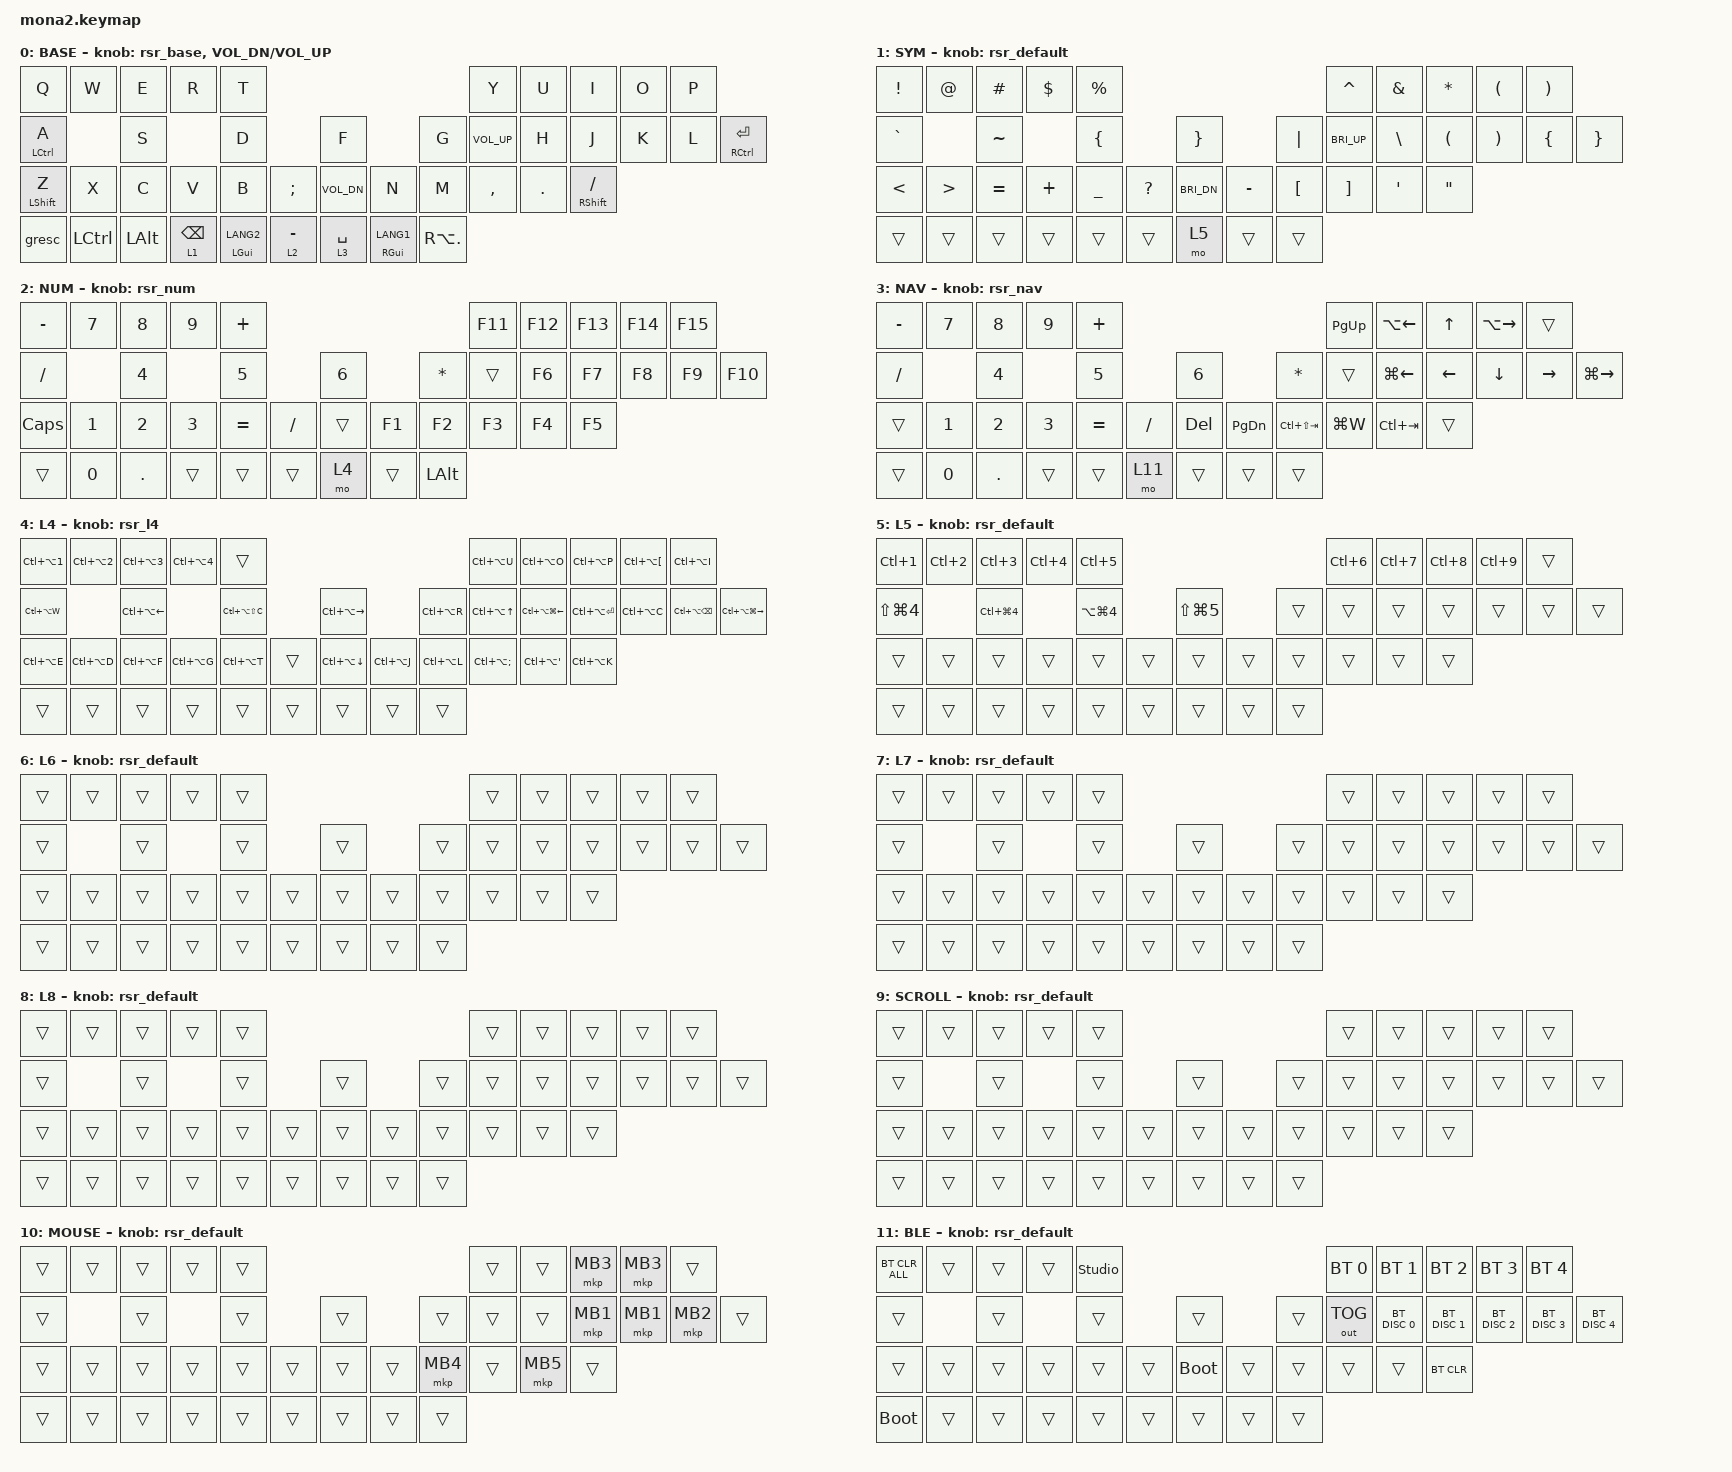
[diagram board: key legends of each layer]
#include <input/processors.dtsi>
#include <dt-bindings/zmk/input_transform.h>
#include <zephyr/dt-bindings/input/input-event-codes.h>
#include <behaviors/runtime-sensor-rotate.dtsi>
#include <behaviors.dtsi>
/* DYA Studio から作成したマクロを呼び出す `&rmacro <slot>` を定義する。
   slot は 0 〜 CONFIG_ZMK_RUNTIME_MACRO_COUNT-1 (現状 0〜7)。
   どのマクロがどのスロットに入っているかは DYA Studio のマクロ一覧で確認する。
   キーへの割り当ては DYA Studio のキーマップエディタからも行える。 */
#include <behaviors/runtime_macro.dtsi>
/* デフォルトレイヤー変更 behavior `&df`。
   DYA Studio の「OSごとのデフォルトレイヤー」から設定できるほか、
   キーマップエディタで `&df DF_SEL <layer>` / `&df DF_INC` を
   任意のキーに割り当てられる。 */
#include <behaviors/default_layer.dtsi>
#include <dt-bindings/zmk_behavior_default_layer/default_layer.h>
#include <dt-bindings/zmk/bt.h>
#include <dt-bindings/zmk/keys.h>
#include <dt-bindings/zmk/outputs.h>
#include <dt-bindings/zmk/pointing.h>

/* ZMK 側で 10 が定義済みなので警告回避のため一旦 undef */

#undef ZMK_POINTING_DEFAULT_SCRL_VAL

#define ZMK_POINTING_DEFAULT_SCRL_VAL 100


/ {
    behaviors {
        mg_set_0: behavior_mg_set_0 {
            compatible = "zmk,behavior-mg-set-fixed";
            #binding-cells = <0>;
            display-name = "Mouse Gesture Key 0";
        };

        mg_set_1: behavior_mg_set_1 {
            compatible = "zmk,behavior-mg-set-fixed";
            #binding-cells = <0>;
            display-name = "Mouse Gesture Key 1";
        };

        mg_set_2: behavior_mg_set_2 {
            compatible = "zmk,behavior-mg-set-fixed";
            #binding-cells = <0>;
            display-name = "Mouse Gesture Key 2";
        };
    };
};

&mt {
    flavor = "balanced";
    quick-tap-ms = <0>;
};

&lt {
    quick-tap-ms = <200>;
    flavor = "balanced";
};

&msc {
    delay-ms = <0>;
    time-to-max-speed-ms = <0>;
    acceleration-exponent = <0>;
};

/ {
    /* ─────────────────────────────────────────────────────────────
       コンボ (DYA Studio から編集可能)

       旧 `combos { compatible = "zmk,combos"; }` はコンパイル時固定で
       DYA Studio から編集できないため、zmk-feature-runtime-combo の
       「コンパイル時デフォルト」ノードへ移行した。
       ここに書いた内容はフラッシュ直後から有効で、設定を消しても復活する。
       DYA Studio 側で編集するとそのスロットだけ上書きされ、
       Web UI の "Reset to Default" でここの値へ戻せる。

       スロット総数は CONFIG_ZMK_RUNTIME_COMBO_MAX_COMBOS (現状 16)。
       未使用スロット (2〜15) は DYA Studio から自由に追加できる。
       ────────────────────────────────────────────────────────── */
    runtime_combo_defaults {
        compatible = "cormoran,runtime-combo-defaults";

        /* S + D 同時押しで Tab */
        tab {
            slot = <0>;
            display-name = "Tab";
            key-positions = <11 12>;
            bindings = <&kp TAB>;
        };

        /* K + L 同時押しの間だけスクロールレイヤー (9) */
        scroll {
            slot = <1>;
            display-name = "scroll";
            key-positions = <18 19>;
            bindings = <&mo 9>;
        };

        /* I + O 同時押しの間だけマウスジェスチャー (Mouse Gesture Key 0) */
        gesture {
            slot = <2>;
            display-name = "gesture";
            key-positions = <7 8>;
            bindings = <&mg_set_0>;
        };

        /* スロット3 (旧 BLE) は本体で削除済み。BLE レイヤーへは
           Space を押したまま左親指の内側 (NAV の 38 番 = &mo 11) で入る */
    };

    /* 静的マクロ (DYA Studio 上では編集不可)。
       DYA Studio から編集したいマクロは Web UI で新規作成し、
       キーに `&rmacro <slot>` を割り当てて使う。 */
    macros {
        to_layer_0: to_layer_0 {
            compatible = "zmk,behavior-macro-one-param";
            #binding-cells = <1>;
            bindings = <&to 0 &macro_param_1to1 &kp MACRO_PLACEHOLDER>;
            label = "TO_LAYER_0";
        };



        screenshot: screenshot {
            compatible = "zmk,behavior-macro";
            #binding-cells = <0>;
            bindings =
                <&macro_press>,
                <&kp LEFT_GUI &kp RSHIFT>,
                <&macro_wait_time 20>,
                <&macro_tap>,
                <&kp S>,
                <&macro_release>,
                <&kp LEFT_GUI &kp RSHIFT>;

            label = "SCREENSHOT";
        };

        henkan: henkan {
            compatible = "zmk,behavior-macro";
            #binding-cells = <0>;
            bindings =
                <&macro_press>,
                <&kp LEFT_ALT>,
                <&macro_wait_time 20>,
                <&macro_tap>,
                <&kp GRAVE>,
                <&macro_release>,
                <&kp LEFT_ALT>;

            label = "HENKAN";
        };
    };

    behaviors {
        lt_to_layer_0: lt_to_layer_0 {
            compatible = "zmk,behavior-hold-tap";
            label = "LAYER_TAP_TO_0";
            bindings = <&mo>, <&to_layer_0>;

            #binding-cells = <2>;
            tapping-term-ms = <200>;
        };

        tp_repeat_mo1: tp_repeat_mo1 {
            compatible = "zmk,behavior-hold-tap";
            label = "TP_REPEAT_MO1";
            bindings = <&mo>, <&key_repeat>;

            #binding-cells = <2>;
            tapping-term-ms = <200>;
        };

        // エンコーダ用 runtime-configurable sensor rotate
        // デフォルトはスクロール (cw=SCRL_DOWN, ccw=SCRL_UP)
        // DYA Studio Web UI から レイヤーごとに cw/ccw の binding を
        // kp C_VOL_UP/DN や kp LEFT/RIGHT などへ動的変更可能

        rsr_default: rsr_default {
            compatible = "zmk,behavior-runtime-sensor-rotate";
            #sensor-binding-cells = <0>;
            tap-ms = <16>;
            cw-binding = <&msc SCRL_DOWN>;
            ccw-binding = <&msc SCRL_UP>;
        };

        /* ベースレイヤー用。2026-10-21 に矢印キー (cw=← / ccw=→) からスクロールへ変更
           (左右の移動はあまり使わないため・本人)。中身は rsr_default と同じ */
        rsr_base: rsr_base {
            compatible = "zmk,behavior-runtime-sensor-rotate";
            #sensor-binding-cells = <0>;
            tap-ms = <16>;
            cw-binding = <&msc SCRL_DOWN>;
            ccw-binding = <&msc SCRL_UP>;
        };

        /* NAV 用のなめらかなズーム。右に回すと F19、左に回すと F18 を送り、
           moNa Overlay (~/Projects/mona-overlay) がピンチのズーム (F19=拡大・F18=縮小) に変える。
           アプリを終了している間は何も起きない */
        rsr_nav: rsr_nav {
            compatible = "zmk,behavior-runtime-sensor-rotate";
            #sensor-binding-cells = <0>;
            tap-ms = <16>;
            cw-binding = <&kp F18>;
            ccw-binding = <&kp F19>;
        };

        /* L4 用の一段ずつのズーム。右に回すと ⌘+ (⌘⇧=)、左に回すと ⌘− */
        rsr_l4: rsr_l4 {
            compatible = "zmk,behavior-runtime-sensor-rotate";
            #sensor-binding-cells = <0>;
            tap-ms = <16>;
            cw-binding = <&kp LG(MINUS)>;
            ccw-binding = <&kp LG(PLUS)>;
        };

        /* NUM 用の一段ずつのズーム。右に回すと ⌘= (Shift なし)、左に回すと ⌘−
           (2026-11-25 に本体から読んで反映。それまでファイルはスクロールだった) */
        rsr_num: rsr_num {
            compatible = "zmk,behavior-runtime-sensor-rotate";
            #sensor-binding-cells = <0>;
            tap-ms = <16>;
            cw-binding = <&kp LG(MINUS)>;
            ccw-binding = <&kp LG(EQUAL)>;
        };

        tog_on: toggle_layer_on_only {
            compatible = "zmk,behavior-toggle-layer";
            #binding-cells = <1>;
            display-name = "Toggle Layer On";
            toggle-mode = "on";
        };

        tog_off: toggle_layer_off_only {
            compatible = "zmk,behavior-toggle-layer";
            #binding-cells = <1>;
            display-name = "Toggle Layer Off";
            toggle-mode = "off";
        };

        zfold: zfold {
            compatible = "zmk,behavior-hold-tap";
            label = "ZFOLD";
            bindings = <&kp>, <&kp>;

            #binding-cells = <2>;
            tapping-term-ms = <300>;
            flavor = "hold-preferred";
            quick-tap-ms = <150>;
            hold-while-undecided;
        };

        zfoldZ: zfoldZ {
            compatible = "zmk,behavior-tap-dance";
            label = "ZFOLDZ";
            #binding-cells = <0>;
            bindings = <&zfold LEFT_SHIFT Z>, <&kp LS(Z)>;
        };
    };

    /* ─────────────────────────────────────────────────────────────
       レイヤー構成 (番号 = DYA Studio の表示順)
         0 BASE     1 SYM (Bksp長押し)  2 NUM (-親指長押し)  3 NAV (Space長押し。左手は NUM と同じテンキー)
         Space を押したまま左親指の内側 (NAV の 38 番) を押している間は 11 BLE
         左親指の内側を押したまま Space (NUM の 39 番) を押している間は 4 L4 (ウィンドウ)
         左親指の外側を押したまま Space (SYM の 39 番) を押している間は 5 L5 (デスクトップ・スクショ)
         4 L4 = Rectangle のショートカット (⌃⌥ / ⌃⌥⌘ / ⌃⌥⇧) を送るウィンドウ操作
         5 L5 = デスクトップ 1〜9 (⌃1〜⌃9) と CleanShot X のスクショ。6〜8 空き
         8 L8 (空き)        9 SCROLL   10 MOUSE   11 BLE
       ※ 番号は mona2_r.overlay の scroll の active-layers (レイヤー9) と
          mouse の temp-layer (レイヤー10) が位置で参照している。
          レイヤーを途中に挿入したら両方を合わせて直すこと。
       ────────────────────────────────────────────────────────── */
    keymap {
        compatible = "zmk,keymap";

        base_layer {
            display-name = "BASE";
            bindings = <
&kp Q  &kp W  &kp E  &kp R  &kp T  &kp Y  &kp U  &kp I  &kp O  &kp P
&mt LCTRL A  &kp S  &kp D  &kp F  &kp G  &kp C_VOL_UP  &kp H  &kp J  &kp K  &kp L  &mt RCTRL ENTER
&mt LSHFT Z  &kp X  &kp C  &kp V  &kp B  &kp SEMI  &kp C_VOL_DN  &kp N  &kp M  &kp COMMA  &kp DOT  &mt RSHFT SLASH
&gresc  &kp LCTRL  &kp LALT  &lt 1 BSPC  &mt LGUI LANG2  &lt 2 MINUS  &lt 3 SPACE  &mt RGUI LANG1  &kp RA(DOT)
            >;

            sensor-bindings = <&rsr_base>, <&inc_dec_kp C_VOL_DN C_VOL_UP>;
        };

        /* 記号。左親指の外側 (Bksp) の長押し
           下段: B の右=?  .=' /=" (2026-10-29 に追加)
           Space の位置 (39 番) は L5 へ (左親指の外側を押したまま Space) */
        sym_layer {
            display-name = "SYM";
            bindings = <
&kp EXCL  &kp AT  &kp HASH  &kp DLLR  &kp PRCNT  &kp CARET  &kp AMPS  &kp STAR  &kp LPAR  &kp RPAR
&kp GRAVE  &kp TILDE  &kp LBRC  &kp RBRC  &kp PIPE  &kp C_BRI_UP  &kp BSLH  &kp LPAR  &kp RPAR  &kp LBRC  &kp RBRC
&kp LT  &kp GT  &kp EQUAL  &kp PLUS  &kp UNDER  &kp QMARK  &kp C_BRI_DN  &kp MINUS  &kp LBKT  &kp RBKT  &kp SQT  &kp DQT
&trans  &trans  &trans  &trans  &trans  &trans  &mo 5  &trans  &trans
            >;

            sensor-bindings = <&rsr_default>;
        };

        /* 数字。左親指の内側 (-) の長押し。左手がテンキー (最下段に 0 と .、Z の位置は Caps Lock)、右手が F1〜F15
           つまみは一段ずつのズーム (⌘− / ⌘=)
           Space の位置 (39 番) は L4 へ (左親指の内側を押したまま Space)
           右手の右下 (41 番。BASE の ⌥.) は ⌥ だけ */
        num_layer {
            display-name = "NUM";
            bindings = <
&kp MINUS  &kp N7  &kp N8  &kp N9  &kp PLUS  &kp F11  &kp F12  &kp F13  &kp F14  &kp F15
&kp SLASH  &kp N4  &kp N5  &kp N6  &kp STAR  &trans  &kp F6  &kp F7  &kp F8  &kp F9  &kp F10
&kp CAPS  &kp N1  &kp N2  &kp N3  &kp EQUAL  &kp SLASH  &trans  &kp F1  &kp F2  &kp F3  &kp F4  &kp F5
&trans  &kp N0  &kp DOT  &trans  &trans  &trans  &mo 4  &trans  &kp LALT
            >;

            sensor-bindings = <&rsr_num>;
        };

        /* 移動。右親指 (Space) の長押し。右手が矢印・単語/行/ページ移動・タブ切替 (M=前・.=次) と閉じる (, の位置の ⌘W。2026-10-29 に . と入れ替え)。つまみはなめらかなズーム
           左手は NUM と同じテンキー (2026-11-08 に追加。数字を Space を押さえた反対の手で打つため)。
           Z は &trans のまま (長押しの Shift を残し、Shift+矢印の範囲選択を使えるようにする)。
           A は / (NUM と同じ。2026-11-25 に本体から読んで反映。それまでは &trans で長押しの Ctrl が効いた)。
           X の下 (0)・C の下 (.) は BASE の Ctrl・⌥ に落ちなくなる
           左親指の内側 (38 番) は BLE へ (Space を押したまま左親指の内側) */
        nav_layer {
            display-name = "NAV";
            bindings = <
&kp MINUS  &kp N7  &kp N8  &kp N9  &kp PLUS  &kp PG_UP  &kp LA(LEFT)  &kp UP  &kp LA(RIGHT)  &trans
&kp SLASH  &kp N4  &kp N5  &kp N6  &kp STAR  &trans  &kp LG(LEFT)  &kp LEFT  &kp DOWN  &kp RIGHT  &kp LG(RIGHT)
&trans  &kp N1  &kp N2  &kp N3  &kp EQUAL  &kp SLASH  &kp DEL  &kp PG_DN  &kp LC(LS(TAB))  &kp LG(W)  &kp LC(TAB)  &trans
&trans  &kp N0  &kp DOT  &trans  &trans  &mo 11  &trans  &trans  &trans
            >;

            sensor-bindings = <&rsr_nav>;
        };

        /* ウィンドウ操作 (Rectangle の既存ショートカットを送る)。左手は幅、右手は上下の位置と画面移動
             上段 Q〜R: 1/4 の①〜④      Y/P: 左上・右上 1/4   U/I/O: 上段 1/6 の左・中・右
             中段 A/G: 左・右 3/4  S/F: 左・右半分  D: 中央に半分の幅 (⌃⌥⇧C)   H/⏎位置: 前・次の画面  J: 最大化  K: 中央
                  L: 元の大きさに戻す (⌃⌥⌫。Rectangle の初期設定のショートカット。2026-11-25 に本体から読んで反映)
             下段 Z/B: 左・右 2/3  X/C/V: 1/3 の左・中・右     N//: 左下・右下 1/4   M/,/.: 下段 1/6
             右手内側の上下 2 キー (15/27): 上半分・下半分。つまみは一段ずつのズーム (⌘− / ⌘+) */
        spare4_layer {
            display-name = "L4";
            bindings = <
&kp LC(LA(N1))  &kp LC(LA(N2))  &kp LC(LA(N3))  &kp LC(LA(N4))  &trans  &kp LC(LA(U))  &kp LC(LA(O))  &kp LC(LA(P))  &kp LC(LA(LBKT))  &kp LC(LA(I))
&kp LC(LA(W))  &kp LC(LA(LEFT))  &kp LC(LA(LS(C)))  &kp LC(LA(RIGHT))  &kp LC(LA(R))  &kp LC(LA(UP))  &kp LC(LA(LG(LEFT)))  &kp LC(LA(ENTER))  &kp LC(LA(C))  &kp LC(LA(BSPC))  &kp LC(LA(LG(RIGHT)))
&kp LC(LA(E))  &kp LC(LA(D))  &kp LC(LA(F))  &kp LC(LA(G))  &kp LC(LA(T))  &trans  &kp LC(LA(DOWN))  &kp LC(LA(J))  &kp LC(LA(L))  &kp LC(LA(SEMI))  &kp LC(LA(SQT))  &kp LC(LA(K))
&trans  &trans  &trans  &trans  &trans  &trans  &trans  &trans  &trans
            >;

            sensor-bindings = <&rsr_l4>;
        };

        /* デスクトップとスクショ。左親指の外側 (Bksp) を押したまま Space を押している間 (SYM の Space の位置が L5)
             上段 Q〜O: デスクトップ 1〜9 (⌃1〜⌃9。Mac の「デスクトップ n へ切り替え」。デスクトップがその数あるときだけ効く)
             中段 A〜F: A=⇧⌘4 範囲→コピー  S=⌃⌘4 範囲→保存  D=⌥⌘4 文字認識  F=⇧⌘5 録画 (CleanShot X) */
        spare5_layer {
            display-name = "L5";
            bindings = <
&kp LC(N1)  &kp LC(N2)  &kp LC(N3)  &kp LC(N4)  &kp LC(N5)  &kp LC(N6)  &kp LC(N7)  &kp LC(N8)  &kp LC(N9)  &trans
&kp LS(LG(N4))  &kp LC(LG(N4))  &kp LA(LG(N4))  &kp LS(LG(N5))  &trans  &trans  &trans  &trans  &trans  &trans  &trans
&trans  &trans  &trans  &trans  &trans  &trans  &trans  &trans  &trans  &trans  &trans  &trans
&trans  &trans  &trans  &trans  &trans  &trans  &trans  &trans  &trans
            >;

            sensor-bindings = <&rsr_default>;
        };

        /* 空き */
        spare6_layer {
            display-name = "L6";
            bindings = <
&trans  &trans  &trans  &trans  &trans  &trans  &trans  &trans  &trans  &trans
&trans  &trans  &trans  &trans  &trans  &trans  &trans  &trans  &trans  &trans  &trans
&trans  &trans  &trans  &trans  &trans  &trans  &trans  &trans  &trans  &trans  &trans  &trans
&trans  &trans  &trans  &trans  &trans  &trans  &trans  &trans  &trans
            >;

            sensor-bindings = <&rsr_default>;
        };

        /* 空き */
        spare7_layer {
            display-name = "L7";
            bindings = <
&trans  &trans  &trans  &trans  &trans  &trans  &trans  &trans  &trans  &trans
&trans  &trans  &trans  &trans  &trans  &trans  &trans  &trans  &trans  &trans  &trans
&trans  &trans  &trans  &trans  &trans  &trans  &trans  &trans  &trans  &trans  &trans  &trans
&trans  &trans  &trans  &trans  &trans  &trans  &trans  &trans  &trans
            >;

            sensor-bindings = <&rsr_default>;
        };

        /* 空き */
        spare8_layer {
            display-name = "L8";
            bindings = <
&trans  &trans  &trans  &trans  &trans  &trans  &trans  &trans  &trans  &trans
&trans  &trans  &trans  &trans  &trans  &trans  &trans  &trans  &trans  &trans  &trans
&trans  &trans  &trans  &trans  &trans  &trans  &trans  &trans  &trans  &trans  &trans  &trans
&trans  &trans  &trans  &trans  &trans  &trans  &trans  &trans  &trans
            >;

            sensor-bindings = <&rsr_default>;
        };

        /* このレイヤーの間はボールがスクロール (overlay の active-layers) */
        scroll_layer {
            display-name = "SCROLL";
            bindings = <
&trans  &trans  &trans  &trans  &trans  &trans  &trans  &trans  &trans  &trans
&trans  &trans  &trans  &trans  &trans  &trans  &trans  &trans  &trans  &trans  &trans
&trans  &trans  &trans  &trans  &trans  &trans  &trans  &trans  &trans  &trans  &trans  &trans
&trans  &trans  &trans  &trans  &trans  &trans  &trans  &trans  &trans
            >;

            sensor-bindings = <&rsr_default>;
        };

        /* オートマウス (overlay の temp-layer) */
        mouse_layer {
            display-name = "MOUSE";
            bindings = <
&trans  &trans  &trans  &trans  &trans  &trans  &trans  &mkp MB3  &mkp MB3  &trans
&trans  &trans  &trans  &trans  &trans  &trans  &trans  &mkp MB1  &mkp MB1  &mkp MB2  &trans
&trans  &trans  &trans  &trans  &trans  &trans  &trans  &trans  &mkp MB4  &trans  &mkp MB5  &trans
&trans  &trans  &trans  &trans  &trans  &trans  &trans  &trans  &trans
            >;

            sensor-bindings = <&rsr_default>;
        };

        /* Bluetooth。Space を押したまま左親指の内側で入る
             右手 上段 Y〜P: BT_SEL 0〜4 (0=Mac, 1=iPad)   中段 H〜⏎位置: BT_DISC 0〜4 (選ぶキーの真下で切断)
             右手 /: BT_CLR (今の番号だけ消す)   H の左: OUT_TOG   N の左: 右手の bootloader
             左手 Q: BT_CLR_ALL   T: studio_unlock   Z の下: 左手の bootloader (押した側の半分が書き込みモード)
             左手の bootloader (旧 B の右) は 2026-11-08 に移動。
             BT_CLR_ALL は 2026-11-08 に右下の角へ移したが、本人が Q に戻した (2026-11-25 に本体から読んで反映。
             BLE は Space と左親指の内側の両方を押さないと入らないので、数字を打つときに押す心配はない・本人) */
        ble_layer {
            display-name = "BLE";
            bindings = <
&bt BT_CLR_ALL  &trans  &trans  &trans  &studio_unlock  &bt BT_SEL 0  &bt BT_SEL 1  &bt BT_SEL 2  &bt BT_SEL 3  &bt BT_SEL 4
&trans  &trans  &trans  &trans  &trans  &out OUT_TOG  &bt BT_DISC 0  &bt BT_DISC 1  &bt BT_DISC 2  &bt BT_DISC 3  &bt BT_DISC 4
&trans  &trans  &trans  &trans  &trans  &trans  &bootloader  &trans  &trans  &trans  &trans  &bt BT_CLR
&bootloader  &trans  &trans  &trans  &trans  &trans  &trans  &trans  &trans
            >;

            sensor-bindings = <&rsr_default>;
        };
    };
};
